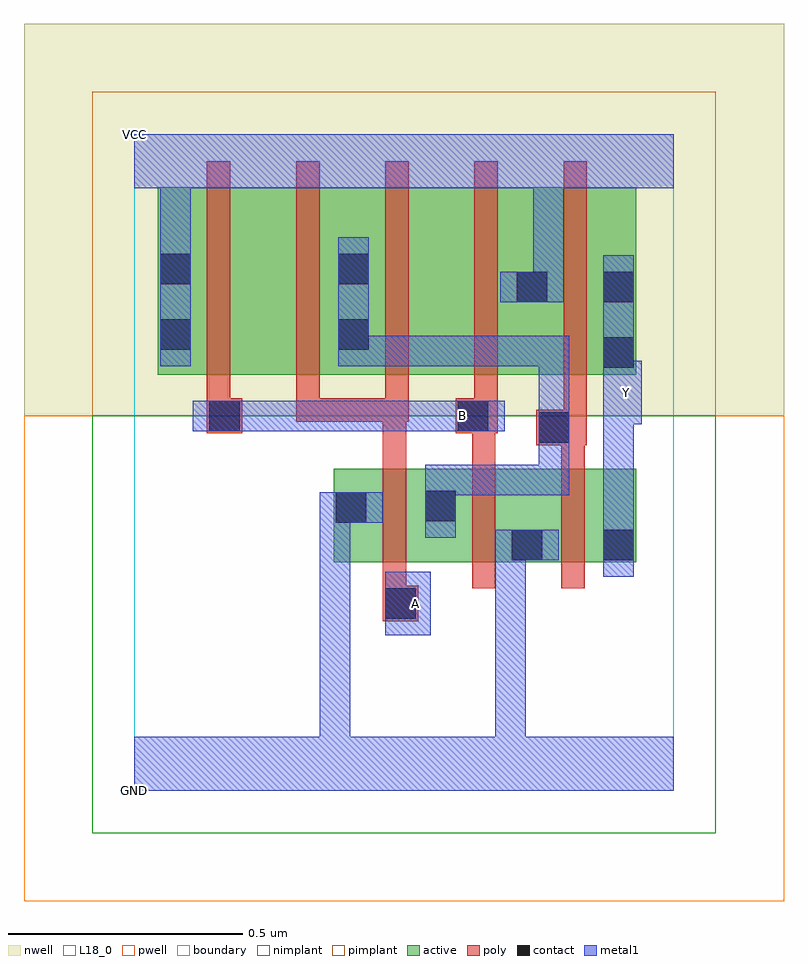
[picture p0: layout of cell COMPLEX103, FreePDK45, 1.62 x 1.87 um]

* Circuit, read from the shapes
.subckt COMPLEX103 A B GND VCC Y
M1 n1 A GND VSUBS nfet w=0.2u l=0.05u
M2 GND B n1 VSUBS nfet w=0.2u l=0.05u
M3 Y n1 GND VSUBS nfet w=0.2u l=0.05u
M4 n2 B VCC n3 pfet w=0.4u l=0.05u
M5 n1 A n2 n3 pfet w=0.4u l=0.05u
M6 n4 A n1 n3 pfet w=0.4u l=0.05u
M7 VCC B n4 n3 pfet w=0.4u l=0.05u
M8 Y n1 VCC n3 pfet w=0.4u l=0.05u
.ends

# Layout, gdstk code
import gdstk
lib = gdstk.Library(unit=1e-6, precision=1e-09)
def R(c, l, rs):  # rectangles x0, y0, x1, y1
    for r in rs: c.add(gdstk.rectangle(r[:2], r[2:], *l))
def A(c, l, x, y, w, h, nx, ny, dx, dy):  # array of equal rectangles
    R(c, l, [(x+i*dx, y+j*dy, x+i*dx+w, y+j*dy+h) for i in range(nx) for j in range(ny)])
active = (1, 0)
pwell = (2, 0)
nwell = (3, 0)
nimplant = (4, 0)
pimplant = (5, 0)
poly = (9, 0)
contact = (10, 0)
metal1 = (11, 0)
L18_0 = (18, 0)
boundary = (235, 0)

complex103 = lib.new_cell('COMPLEX103')
R(complex103, active, [(0.425,0.487,0.5,0.687), (0.425,0.487,0.69,0.687), (0.615,0.487,0.69,0.687), (0.615,0.487,0.875,0.687), (0.8,0.487,1.07,0.687), (0.8,0.487,0.875,0.562), (0.995,0.487,1.07,0.687), (0.05,0.887,0.275,1.287), (0.05,0.887,0.125,1.255), (0.275,0.887,0.505,1.287), (0.43,0.887,0.655,1.287), (0.655,0.887,0.885,1.287), (0.81,0.887,1.07,1.287), (0.995,0.887,1.07,1.2), (0.43,0.907,0.505,1.2), (0.81,0.907,0.885,1.255)])
R(complex103, pwell, [(-0.235,-0.235,1.385,0.8)])
R(complex103, nwell, [(-0.235,0.8,1.385,1.635)])
R(complex103, nimplant, [(-0.09,-0.09,1.24,0.8)])
R(complex103, pimplant, [(-0.09,0.8,1.24,1.49)])
A(complex103, poly, 0.53, 0.432, 0.05, 0.31, 3, 1, 0.19, 0)
A(complex103, poly, 0.155, 0.787, 0.05, 0.095, 4, 1, 0.19, 0)
A(complex103, poly, 0.155, 0.832, 0.05, 0.51, 5, 1, 0.19, 0)
R(complex103, poly, [(0.53,0.362,0.605,0.437), (0.53,0.387,0.58,0.482), (0.53,0.692,0.58,0.837), (0.72,0.692,0.77,0.812), (0.91,0.692,0.96,0.787), (0.857,0.737,0.965,0.812), (0.155,0.762,0.23,0.837), (0.685,0.762,0.775,0.837), (0.915,0.762,0.965,0.882), (0.345,0.787,0.395,0.837), (0.345,0.787,0.58,0.837), (0.53,0.787,0.58,0.837), (0.53,0.787,0.58,0.837), (0.53,0.787,0.585,0.837)])
R(complex103, contact, [(0.535,0.367,0.6,0.432), (0.805,0.492,0.87,0.557), (1,0.492,1.065,0.557), (0.43,0.572,0.495,0.637), (0.62,0.575,0.685,0.64), (0.862,0.742,0.927,0.807), (0.16,0.767,0.225,0.832), (0.69,0.767,0.755,0.832), (1,0.902,1.065,0.967), (0.055,0.94,0.12,1.005), (0.435,0.94,0.5,1.005), (0.815,1.042,0.88,1.107), (1,1.042,1.065,1.107), (0.055,1.08,0.12,1.145), (0.435,1.08,0.5,1.145)])
R(complex103, metal1, [(0,0,1.15,0.115), (0.395,0.05,0.46,0.115), (0.395,0.05,0.46,0.115), (0.395,0.05,0.46,0.115), (0.395,0.05,0.46,0.115), (0.395,0.05,0.46,0.115), (0.395,0.05,0.46,0.115), (0.395,0.05,0.46,0.115), (0.395,0.05,0.46,0.115), (0.395,0.05,0.46,0.637), (0.77,0.05,0.835,0.115), (0.77,0.05,0.835,0.115), (0.77,0.05,0.835,0.115), (0.77,0.05,0.835,0.115), (0.77,0.05,0.835,0.115), (0.77,0.05,0.835,0.115), (0.77,0.05,0.835,0.115), (0.77,0.05,0.835,0.115), (0.77,0.05,0.835,0.557), (0.535,0.332,0.632,0.467), (1,0.457,1.065,0.592), (0.77,0.492,0.905,0.557), (1,0.527,1.065,0.847), (0.62,0.54,0.685,0.675), (0.395,0.572,0.53,0.637), (0.62,0.61,0.685,0.675), (0.62,0.61,0.685,0.695), (0.62,0.63,0.927,0.695), (0.862,0.63,0.927,0.695), (0.862,0.63,0.927,0.772), (0.862,0.707,0.927,0.842), (0.862,0.707,0.927,0.772), (0.862,0.707,0.927,0.772), (0.862,0.707,0.927,0.97), (0.125,0.767,0.26,0.832), (0.195,0.767,0.26,0.832), (0.195,0.767,0.26,0.832), (0.195,0.767,0.4,0.832), (0.335,0.767,0.4,0.832), (0.335,0.767,0.537,0.832), (0.472,0.767,0.537,0.832), (0.472,0.767,0.537,0.832), (0.472,0.767,0.537,0.832), (0.472,0.767,0.697,0.832), (0.632,0.767,0.697,0.832), (0.632,0.767,0.697,0.832), (0.632,0.767,0.79,0.832), (1,0.782,1.082,0.917), (1,0.852,1.065,0.932), (1,0.867,1.065,1.142), (0.055,0.905,0.12,1.18), (0.435,0.905,0.5,1.18), (0.435,0.905,0.537,0.97), (0.472,0.905,0.537,0.97), (0.472,0.905,0.697,0.97), (0.632,0.905,0.697,0.97), (0.632,0.905,0.697,0.97), (0.632,0.905,0.697,0.97), (0.632,0.905,0.927,0.97), (0.862,0.905,0.927,0.97), (0.78,1.042,0.915,1.107), (0.85,1.042,0.915,1.35), (0.055,1.115,0.12,1.35), (0,1.285,1.15,1.4)])
R(complex103, L18_0, [(0,0,1.15,0.115), (0.395,0.05,0.46,0.115), (0.395,0.05,0.46,0.115), (0.395,0.05,0.46,0.115), (0.395,0.05,0.46,0.115), (0.395,0.05,0.46,0.115), (0.395,0.05,0.46,0.115), (0.395,0.05,0.46,0.115), (0.395,0.05,0.46,0.115), (0.395,0.05,0.46,0.637), (0.77,0.05,0.835,0.115), (0.77,0.05,0.835,0.115), (0.77,0.05,0.835,0.115), (0.77,0.05,0.835,0.115), (0.77,0.05,0.835,0.115), (0.77,0.05,0.835,0.115), (0.77,0.05,0.835,0.115), (0.77,0.05,0.835,0.115), (0.77,0.05,0.835,0.557), (0.535,0.332,0.632,0.467), (0.567,0.367,0.632,0.432), (1,0.457,1.065,0.592), (0.77,0.492,0.905,0.557), (1,0.527,1.065,0.847), (0.395,0.572,0.53,0.637), (0.125,0.767,0.26,0.832), (0.195,0.767,0.26,0.832), (0.195,0.767,0.26,0.832), (0.195,0.767,0.4,0.832), (0.335,0.767,0.4,0.832), (0.335,0.767,0.537,0.832), (0.472,0.767,0.537,0.832), (0.472,0.767,0.537,0.832), (0.472,0.767,0.537,0.832), (0.472,0.767,0.697,0.832), (0.632,0.767,0.697,0.832), (0.632,0.767,0.697,0.832), (0.632,0.767,0.79,0.832), (0.667,0.767,0.732,0.832), (1,0.782,1.082,0.917), (1.017,0.817,1.082,0.882), (1,0.852,1.065,0.932), (1,0.867,1.065,1.142), (0.055,0.905,0.12,1.18), (0.78,1.042,0.915,1.107), (0.85,1.042,0.915,1.35), (0.055,1.115,0.12,1.35), (0,1.285,1.15,1.4)])
R(complex103, boundary, [(0,0,1.15,1.4)])
complex103.add(gdstk.Label('A', (0.6,0.4), layer=11, texttype=0))
complex103.add(gdstk.Label('B', (0.7,0.8), layer=11, texttype=0))
complex103.add(gdstk.Label('Y', (1.05,0.85), layer=11, texttype=0))
complex103.add(gdstk.Label('VCC', (0,1.4), layer=11, texttype=0))
complex103.add(gdstk.Label('GND', (0,0), layer=11, texttype=0))

lib.write_gds('COMPLEX103.gds')
